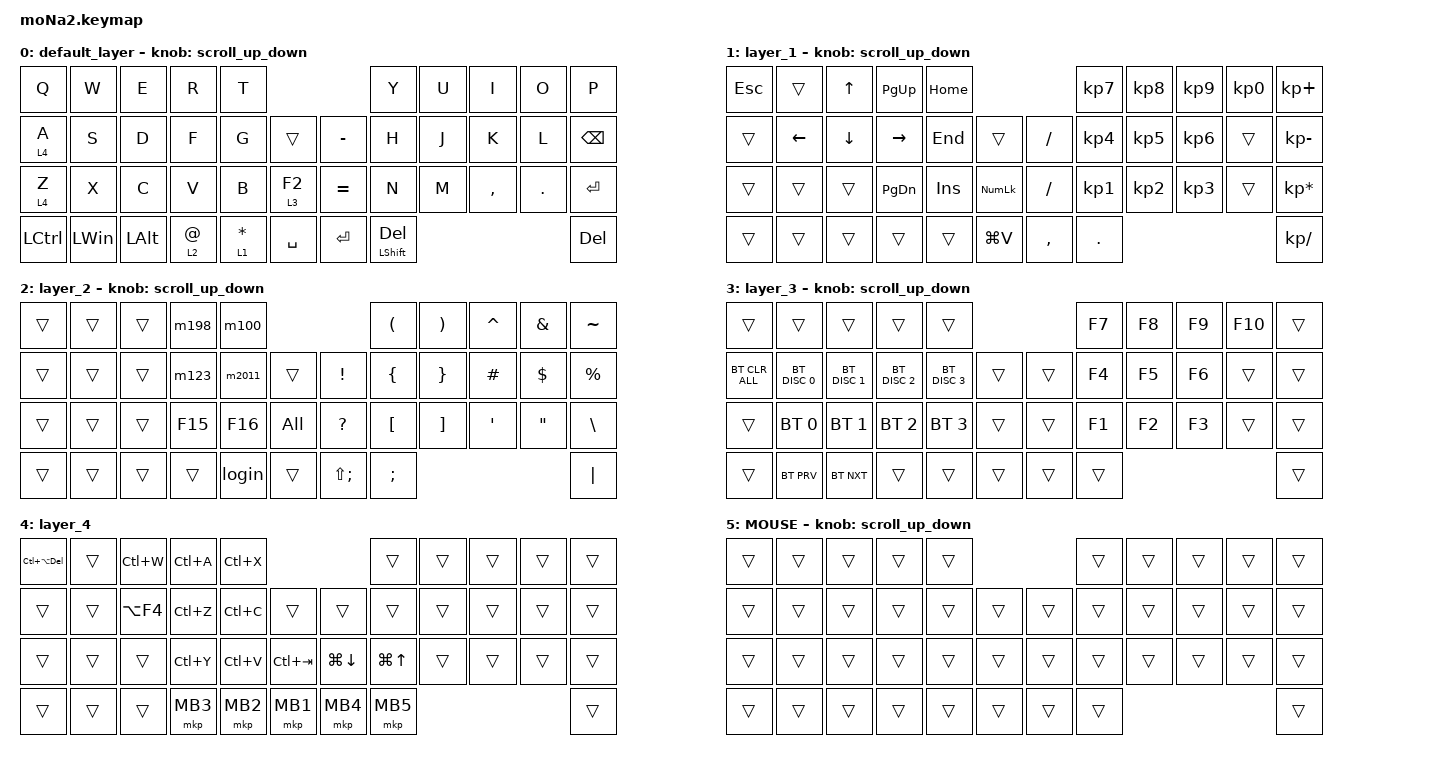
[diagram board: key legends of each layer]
#include <behaviors.dtsi>
#include <dt-bindings/zmk/bt.h>
#include <dt-bindings/zmk/keys.h>
#include <dt-bindings/zmk/pointing.h>

#define ZMK_POINTING_DEFAULT_SCRL_VAL 100
#define MOUSE 6

&mt {
    flavor = "balanced";
    quick-tap-ms = <0>;
};

/ {
    combos {
        compatible = "zmk,combos";

        Dot {
            bindings = <&kp SLASH>;
            key-positions = <16 28>;
        };

        Shift {
            bindings = <&kp LEFT_SHIFT>;
            key-positions = <22 34>;
        };

        Tab2 {
            bindings = <&kp TAB>;
            key-positions = <10 22>;
        };

        Henkan {
            bindings = <&kp LS(SPACE)>;
            key-positions = <39 38>;
        };

        F13a {
            bindings = <&kp F13>;
            key-positions = <37 38>;
        };

        Tab3 {
            bindings = <&kp TAB>;
            key-positions = <0 10>;
        };

        Enttter {
            bindings = <&kp ENTER>;
            key-positions = <27 26>;
        };

        ShiftEnter {
            bindings = <&kp LS(ENTER)>;
            key-positions = <9 21>;
        };
    };

    macros {
        m0: m0 {
            compatible = "zmk,behavior-macro";
            #binding-cells = <0>;
            bindings = <&none &kp N1 &kp N2 &kp N3 &kp Q &kp W &kp E &kp LS(A) &kp LS(S) &kp LS(D) &kp LS(Z) &kp LS(X) &kp LS(C) &kp ENTER>;
            label = "M0";
        };

        m198: m1 {
            compatible = "zmk,behavior-macro";
            #binding-cells = <0>;
            bindings = <&none &kp N1 &kp N9 &kp N8 &kp N0 &kp N1 &kp N4 &kp N4 &kp N5>;
            label = "M1";
        };

        m100: m100 {
            compatible = "zmk,behavior-macro";
            #binding-cells = <0>;
            bindings = <&none &kp N1 &kp N0 &kp N0 &kp N3 &kp N2 &kp N5 &kp N3 &kp N0>;
            label = "M100";
        };

        m123: m123 {
            compatible = "zmk,behavior-macro";
            #binding-cells = <0>;
            bindings = <&none &kp N1 &kp N2 &kp N3 &kp N0 &kp N9 &kp N8 &kp Q &kp W &kp E &kp LS(P) &kp LS(O) &kp LS(I) &kp N0 &kp NUMBER_5 &kp ENTER>;
            label = "M123";
        };

        m2011: m2011 {
            compatible = "zmk,behavior-macro";
            #binding-cells = <0>;
            bindings = <&none &kp N2 &kp N0 &kp N1 &kp N1 &kp AT &kp F &kp U &kp J &kp I &kp F &kp I &kp L &kp M &kp ENTER>;
            label = "M2011";
        };

        All: All {
            compatible = "zmk,behavior-macro";
            #binding-cells = <0>;
            bindings = <&none &kp N1 &kp N9 &kp N8 &kp N0 &kp N1 &kp N4 &kp N4 &kp N5 &kp TAB &kp N1 &kp N2 &kp N3 &kp N0 &kp N9 &kp N8 &kp Q &kp W &kp E &kp LS(P) &kp LS(O) &kp LS(I) &kp N0 &kp N5 &kp ENTER>;
            label = "ALL";
        };

        login: login {
            compatible = "zmk,behavior-macro";
            #binding-cells = <0>;
            bindings = <&none &kp N1 &kp N2 &kp N3 &kp Q &kp W &kp E &kp LS(A) &kp LS(S) &kp LS(D) &kp LS(Z) &kp LS(X) &kp LS(C) &kp ENTER>;
            label = "LOGIN";
        };
    };

    behaviors {
        scroll_up_down: behavior_sensor_rotate_mouse_wheel_up_down {
            compatible = "zmk,behavior-sensor-rotate";
            #sensor-binding-cells = <0>;
            bindings = <&msc SCRL_UP>, <&msc SCRL_DOWN>;

            tap-ms = <20>;
        };
    };

    keymap {
        compatible = "zmk,keymap";

        default_layer {
            bindings = <
&kp Q      &kp W         &kp E         &kp R     &kp T                                &kp Y               &kp U  &kp I      &kp O    &kp P
&lt 4 A    &kp S         &kp D         &kp F     &kp G        &trans       &kp MINUS  &kp H               &kp J  &kp K      &kp L    &kp BACKSPACE
&lt 4 Z    &kp X         &kp C         &kp V     &kp B        &lt 3 F2     &kp EQUAL  &kp N               &kp M  &kp COMMA  &kp DOT  &kp ENTER
&kp LCTRL  &kp LEFT_WIN  &kp LEFT_ALT  &lt 2 AT  &lt 1 ASTRK  &kp SPACE    &kp ENTER  &mt LEFT_SHIFT DEL                             &kp DEL
            >;

            sensor-bindings = <&scroll_up_down>;
        };

        layer_1 {
            bindings = <
&kp ESCAPE  &trans          &kp UP_ARROW    &kp PG_UP        &kp HOME                                 &kp KP_NUMBER_7  &kp KP_NUMBER_8  &kp KP_NUMBER_9  &kp KP_NUMBER_0  &kp KP_PLUS
&trans      &kp LEFT_ARROW  &kp DOWN_ARROW  &kp RIGHT_ARROW  &kp END     &trans            &kp SLASH  &kp KP_NUMBER_4  &kp KP_NUMBER_5  &kp KP_NUMBER_6  &trans           &kp KP_MINUS
&trans      &trans          &trans          &kp PAGE_DOWN    &kp INSERT  &kp KP_NUMLOCK    &kp SLASH  &kp KP_NUMBER_1  &kp KP_NUMBER_2  &kp KP_NUMBER_3  &trans           &kp KP_MULTIPLY
&trans      &trans          &trans          &trans           &trans      &kp LG(V)         &kp COMMA  &kp PERIOD                                                          &kp KP_DIVIDE
            >;

            sensor-bindings = <&scroll_up_down>;
        };

        layer_2 {
            bindings = <
&trans  &trans  &trans  &m198    &m100                                 &kp LEFT_PARENTHESIS  &kp RIGHT_PARENTHESIS  &kp CARET  &kp AMPS           &kp TILDE
&trans  &trans  &trans  &m123    &m2011   &trans    &kp EXCLAMATION    &kp LEFT_BRACE        &kp RIGHT_BRACE        &kp HASH   &kp DOLLAR         &kp PERCENT
&trans  &trans  &trans  &kp F15  &kp F16  &All      &kp QUESTION       &kp LEFT_BRACKET      &kp RIGHT_BRACKET      &kp SQT    &kp DOUBLE_QUOTES  &kp BACKSLASH
&trans  &trans  &trans  &trans   &login   &trans    &kp LS(SEMICOLON)  &kp SEMICOLON                                                              &kp PIPE
            >;

            sensor-bindings = <&scroll_up_down>;
        };

        layer_3 {
            bindings = <
&trans          &trans         &trans         &trans         &trans                           &kp F7  &kp F8  &kp F9  &kp F10  &trans
&bt BT_CLR_ALL  &bt BT_DISC 0  &bt BT_DISC 1  &bt BT_DISC 2  &bt BT_DISC 3  &trans    &trans  &kp F4  &kp F5  &kp F6  &trans   &trans
&trans          &bt BT_SEL 0   &bt BT_SEL 1   &bt BT_SEL 2   &bt BT_SEL 3   &trans    &trans  &kp F1  &kp F2  &kp F3  &trans   &trans
&trans          &bt BT_PRV     &bt BT_NXT     &trans         &trans         &trans    &trans  &trans                           &trans
            >;

            sensor-bindings = <&scroll_up_down>;
        };

        layer_4 {
            bindings = <
&kp LC(LA(DELETE))  &trans  &kp LC(W)   &kp LC(A)  &kp LC(X)                                     &trans            &trans  &trans  &trans  &trans
&trans              &trans  &kp LA(F4)  &kp LC(Z)  &kp LC(C)  &trans         &trans              &trans            &trans  &trans  &trans  &trans
&trans              &trans  &trans      &kp LC(Y)  &kp LC(V)  &kp LC(TAB)    &kp LG(DOWN_ARROW)  &kp LG(UP_ARROW)  &trans  &trans  &trans  &trans
&trans              &trans  &trans      &mkp MB3   &mkp MB2   &mkp MB1       &mkp MB4            &mkp MB5                                  &trans
            >;
        };

        MOUSE {
            bindings = <
&trans  &trans  &trans  &trans  &trans                    &trans  &trans  &trans  &trans  &trans
&trans  &trans  &trans  &trans  &trans  &trans    &trans  &trans  &trans  &trans  &trans  &trans
&trans  &trans  &trans  &trans  &trans  &trans    &trans  &trans  &trans  &trans  &trans  &trans
&trans  &trans  &trans  &trans  &trans  &trans    &trans  &trans                          &trans
            >;

            sensor-bindings = <&scroll_up_down>;
        };
    };
};
